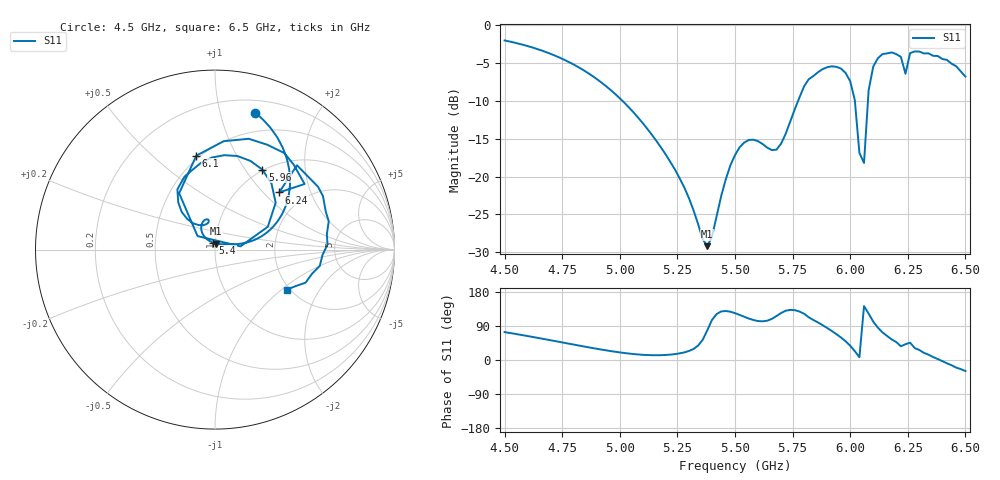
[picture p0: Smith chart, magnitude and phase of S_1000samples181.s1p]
! TOUCHSTONE file generated by CST MICROWAVE STUDIO
! Date and time: Thu Oct 27 07:00:53 2022
! Project name: L.cst
! Parameters = {Di=1.27; Epsilon_r=1.56; InnerDiameter=1.27; Length=2; Lf=10; Lg=60; OuterConductorThickness=0.2921; OuterDiameter=3.6; Wf=3; Wp=41.2; de=1.5; df=6.8; g=0.8; gx=2.80503; gy=3.01787; h=2.34; hf=1.524; px=14.6443; py=12.8801; w=9.7; wx=11.8393; wy=9.86222}
! Header version: 2018
! Port assignment regex: !\s*Touchstone port\s*([0-9]+)\s*=\s*(CST MWS port|CST DS port)\s*([0-9]+|Zmin|Zmax)\s*\(\"(.*)\"\)(\s*mode\s*([0-9]+))?.*
! Touchstone port assignment:
! Touchstone port 1 = CST MWS port 1 ("")
# GHz S DB R 50
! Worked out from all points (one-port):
!   101 points, 4.5 GHz to 6.5 GHz, reference 50 ohm
!   lowest |S11| = -29.2 dB at 5.38 GHz (marker M1), VSWR 1.07, Z = 50.6 + j3.44 ohm
!   |S11| at or under -10 dB: 5.012 GHz to 5.774 GHz (761.7 MHz wide, 14.1 % of centre); 6.02 GHz to 6.077 GHz (56.71 MHz wide, 0.937 % of centre)
!   S11 on the Smith chart (normalised r, x): 4.5 GHz: 0.31, +1.29; 5.4 GHz: 0.98, +0.08; 5.96 GHz: 0.99, +1.20; 6.1 GHz: 0.48, +0.70; 6.24 GHz: 1.50, +1.24; 6.5 GHz: 1.93, -1.09
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4.5  -1.99 73.7
4.76  -4.56 45.3
5  -9.65 20.0
5.26  -20.24 17.6
5.38  -29.20 78.7
5.4  -27.95 105.5
5.46  -20.36 129.3
5.5  -17.15 123.7
5.56  -15.16 109.4
5.68  -16.44 116.0
5.76  -11.05 131.5
5.8  -8.05 122.0
5.88  -5.79 92.0
5.96  -5.71 59.4
6  -7.39 37.7
6.02  -9.88 23.4
6.04  -16.87 7.3
6.06  -18.20 142.2
6.08  -8.59 122.5
6.1  -5.46 101.3
6.14  -3.80 73.0
6.18  -3.58 54.4
6.22  -4.17 36.2
6.24  -6.40 41.7
6.26  -3.67 45.8
6.28  -3.45 31.5
6.38  -4.05 2.6
6.5  -6.77 -29.0
